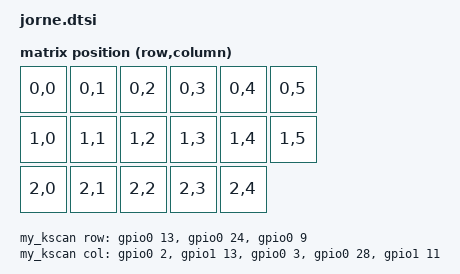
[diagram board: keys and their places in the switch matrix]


#include <dt-bindings/zmk/matrix_transform.h>

/ {
    chosen {
        /* Override to point to your custom kscan and transform labels */
        zmk,kscan = &my_kscan;
        zmk,matrix-transform = &my_transform;
    };

    
   split_inputs {
        #address-cells = <1>;
        #size-cells = <0>;

        glidepoint_split: glidepoint_split@0 {
            compatible = "zmk,input-split";
            reg = <0>;
        };
    };

    glidepoint_listener: glidepoint_listener {
        compatible = "zmk,input-listener";
        status = "disabled";
        device = <&glidepoint_split>;
    };
};

/* Define your custom kscan node (overrides existing) */
my_kscan: kscan {
    compatible = "zmk,kscan-gpio-matrix";
    label = "CUSTOM_KSCAN";
    wakeup-source;                  /* Recommended for low-power wake */
    diode-direction = "col2row";    /* Or "row2col" if your hardware uses it */

    /* Example: Override columns (if shared) or rows (per half) */
    col-gpios = <&gpio0 2 GPIO_ACTIVE_HIGH>,
                <&gpio1 13 GPIO_ACTIVE_HIGH>,
                <&gpio0 3 GPIO_ACTIVE_HIGH>,
                <&gpio0 28 GPIO_ACTIVE_HIGH>,
                <&gpio1 11 GPIO_ACTIVE_HIGH>;  /* Adjust to your actual pins */

    row-gpios = <&gpio0 13 (GPIO_ACTIVE_HIGH | GPIO_PULL_DOWN)>,
                <&gpio0 24 (GPIO_ACTIVE_HIGH | GPIO_PULL_DOWN)>,
                <&gpio0 9 (GPIO_ACTIVE_HIGH | GPIO_PULL_DOWN)>;  /* Adjust pins */
};

/* Define your custom matrix transform (required for non-grid layouts) */
my_transform: my_matrix_transform {
    compatible = "zmk,matrix-transform";
    rows = <3>;     /* Number of logical rows in keymap (e.g., 3 for typical Corne/Jorne half) */
    columns = <6>;  /* Number of logical columns (e.g., 6 for full Jorne with thumbs) */

    /* Map: Array of RC(row, col) where each entry corresponds to a key position in .keymap */
    /* Order must match your keymap bindings array */
    map = <
        RC(0,0) RC(0,1) RC(0,2) RC(0,3) RC(0,4) RC(0,5)   /* Top row */
        RC(1,0) RC(1,1) RC(1,2) RC(1,3) RC(1,4) RC(1,5)   /* Middle row */
        RC(2,0) RC(2,1) RC(2,2) RC(2,3) RC(2,4)            /* Bottom row + thumbs; skip unused */
    >;
};

